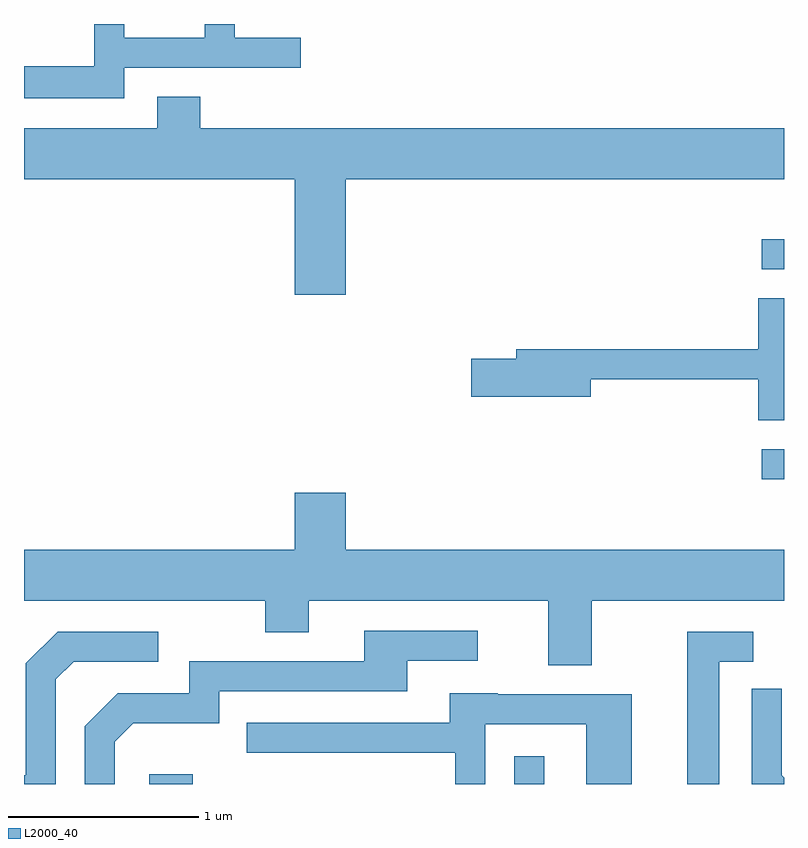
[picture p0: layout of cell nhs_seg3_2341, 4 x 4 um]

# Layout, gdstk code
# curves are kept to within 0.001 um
import gdstk
lib = gdstk.Library(unit=1e-6, precision=1e-09)
def R(c, l, rs):  # rectangles x0, y0, x1, y1
    for r in rs: c.add(gdstk.rectangle(r[:2], r[2:], *l))
def P(c, l, *ps):  # polygons
    for p in ps: c.add(gdstk.Polygon(p, *l))
L2000_40 = (2000, 40)

nhs_seg3_2341 = lib.new_cell('nhs_seg3_2341')
R(nhs_seg3_2341, L2000_40, [(254.271,1173.892,254.499,1173.944), (256.191,1173.892,256.349,1174.038), (257.493,1175.496,257.611,1175.654), (257.493,1176.601,257.611,1176.759), (253.611,1177.891,253.778,1177.892)])
P(nhs_seg3_2341, L2000_40, [(254.139,1177.661),(255.068,1177.661),(255.068,1177.819),(254.719,1177.819),(254.719,1177.892),(254.561,1177.892),(254.561,1177.819),(254.139,1177.819),(254.139,1177.892),(253.981,1177.892),(253.981,1177.669),(253.611,1177.669),(253.611,1177.501),(254.139,1177.501)],
  [(255.304,1177.076),(257.611,1177.076),(257.611,1177.344),(254.539,1177.344),(254.539,1177.509),(254.311,1177.509),(254.311,1177.344),(253.611,1177.344),(253.611,1177.076),(255.036,1177.076),(255.036,1176.466),(255.304,1176.466)],
  [(257.611,1176.449),(257.476,1176.449),(257.476,1176.179),(256.201,1176.179),(256.201,1176.129),(255.966,1176.129),(255.966,1175.931),(256.594,1175.931),(256.594,1176.021),(257.476,1176.021),(257.476,1175.806),(257.611,1175.806)],
  [(256.599,1174.856),(257.611,1174.856),(257.611,1175.124),(255.304,1175.124),(255.304,1175.424),(255.036,1175.424),(255.036,1175.124),(253.611,1175.124),(253.611,1174.856),(254.881,1174.856),(254.881,1174.691),(255.109,1174.691),(255.109,1174.856),(256.371,1174.856),(256.371,1174.516),(256.599,1174.516)],
  [(254.089,1174.114),(254.187,1174.211),(254.639,1174.211),(254.639,1174.381),(255.629,1174.381),(255.629,1174.541),(255.998,1174.541),(255.998,1174.699),(255.401,1174.699),(255.401,1174.539),(254.481,1174.539),(254.481,1174.369),(254.104,1174.369),(253.931,1174.197),(253.931,1173.892),(254.089,1173.892)],
  [(257.269,1174.536),(257.448,1174.536),(257.448,1174.694),(257.101,1174.694),(257.101,1173.892),(257.269,1173.892)],
  [(253.779,1174.444),(253.872,1174.536),(254.318,1174.536),(254.318,1174.694),(253.789,1174.694),(253.621,1174.527),(253.621,1173.939),(253.611,1173.939),(253.611,1173.892),(253.779,1173.892)],
  [(257.611,1173.925),(257.599,1173.937),(257.599,1174.393),(257.441,1174.393),(257.441,1173.892),(257.611,1173.892)],
  [(256.039,1174.206),(256.571,1174.206),(256.571,1173.892),(256.809,1173.892),(256.809,1174.364),(256.105,1174.364),(256.105,1174.369),(255.851,1174.369),(255.851,1174.214),(254.783,1174.214),(254.783,1174.056),(255.881,1174.056),(255.881,1173.892),(256.039,1173.892)])

lib.write_gds('nhs_seg3_2341.gds')
